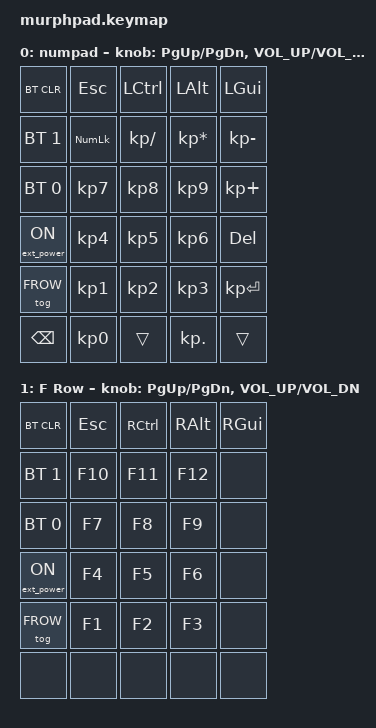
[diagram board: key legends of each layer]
/*
 * Copyright (c) 2021 The ZMK Contributors
 *
 * SPDX-License-Identifier: MIT
 */

#include <behaviors.dtsi>
#include <dt-bindings/zmk/keys.h>
#include <dt-bindings/zmk/bt.h>
#include <dt-bindings/zmk/ext_power.h>

#define DEFAULT 0
#define FROW 1
#define TIMEOUT 300

&encoder_1 {
    status = "okay";
};

&encoder_2 {
    status = "okay";
};

/ {
    combos {
        compatible = "zmk,combos";
        combo_btclr {
            timeout-ms = <TIMEOUT>;
            key-positions = <1 6>;
            bindings = <&bt BT_CLR>;
        };
        combo_reset {
            timeout-ms = <TIMEOUT>;
            key-positions = <1 3>;
            bindings = <&reset>;
        };
        combo_bootloader {
            timeout-ms = <TIMEOUT>;
            key-positions = <1 2>;
            bindings = <&bootloader>;
        };
        combo_bt_nxt {
            timeout-ms = <TIMEOUT>;
            key-positions = <1 4>;
            bindings = <&bt BT_NXT>;
        };
    };
    
    sensors {
        compatible = "zmk,keymap-sensors";
        sensors = <&encoder_1 &encoder_2>;
    };


    keymap0: keymap {
        compatible = "zmk,keymap";

        default_layer {
            label = "numpad";
            bindings = <
                &bt BT_CLR       &kp ESC      &kp LCTRL       &kp LALT          &kp LGUI   
                &bt BT_SEL 1     &kp KP_NUM   &kp KP_DIVIDE   &kp KP_MULTIPLY   &kp KP_MINUS    
                &bt BT_SEL 0     &kp KP_N7    &kp KP_N8       &kp KP_N9         &kp KP_PLUS   
                &ext_power EP_ON &kp KP_N4    &kp KP_N5       &kp KP_N6         &kp DEL
                &tog FROW        &kp KP_N1    &kp KP_N2       &kp KP_N3         &kp KP_ENTER
                &kp BSPC         &kp KP_N0    &trans          &kp KP_DOT        &trans
            >;
            sensor-bindings = <&inc_dec_kp PG_UP PG_DN &inc_dec_kp C_VOL_UP C_VOL_DN>;

        }; 
        
        fn_layer {
            label = "F Row";
            bindings = <
                &bt BT_CLR       &kp ESC &kp RCTRL &kp RALT &kp RGUI  
                &bt BT_SEL 1     &kp F10 &kp F11   &kp F12  &none     
                &bt BT_SEL 0     &kp F7  &kp F8    &kp F9   &none
                &ext_power EP_ON &kp F4  &kp F5    &kp F6   &none    
                &tog FROW        &kp F1  &kp F2    &kp F3   &none
                &none            &none   &none     &none    &none           
            >;  
            sensor-bindings = <&inc_dec_kp PG_UP PG_DN &inc_dec_kp C_VOL_UP C_VOL_DN>;
                
        };
    };
};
